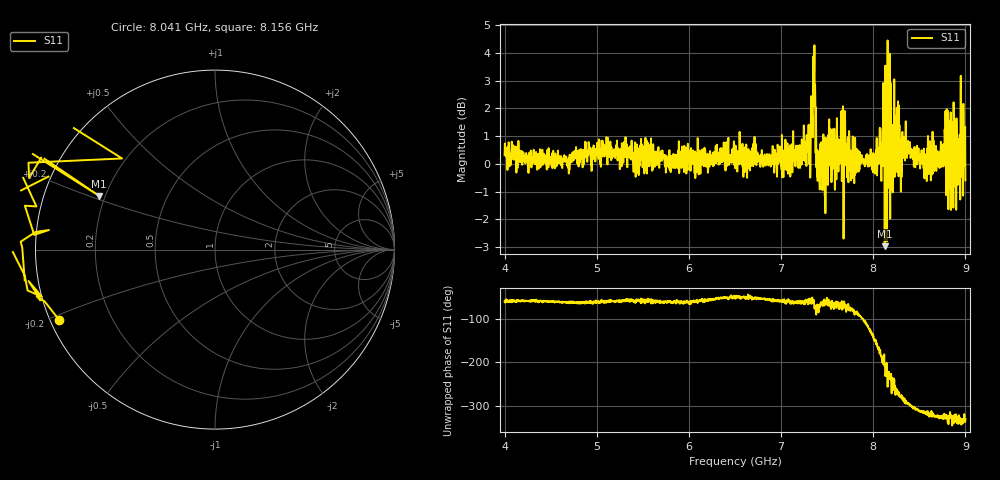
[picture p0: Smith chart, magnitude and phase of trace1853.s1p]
! Created with skrf 1.8.0 (http://scikit-rf.org).
# Hz S RI R 50.0
!freq ReS11 ImS11
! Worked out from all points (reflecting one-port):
!   1601 points, 4 GHz to 9 GHz, reference 50 ohm
!   lowest |S11| = -3.0 dB at 8.125 GHz (marker M1), VSWR 5.91, Z = 8.86 + j10.7 ohm
!   phase of S11 starts at -59 deg and turns -272 deg over the sweep
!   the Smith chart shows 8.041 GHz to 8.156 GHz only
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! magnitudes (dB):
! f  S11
! 4 GHz  0.3
! 4.625 GHz  -0.2
! 5.25 GHz  -0.2
! 5.875 GHz  0.2
! 6.5 GHz  0.5
! 7.125 GHz  0.6
! 7.297 GHz  1.4
! 7.319 GHz  -0.2
! 7.347 GHz  3.9
! 7.372 GHz  2.1
! 7.397 GHz  -0.6
! 7.409 GHz  -0.2
! 7.538 GHz  0.7
! 7.609 GHz  0.6
! 7.672 GHz  2.1
! 7.75 GHz  -0.1
! 8.019 GHz  -0.4
! 8.125 GHz  -3.0
! 8.15 GHz  -2.8
! 8.153 GHz  0.3
! 8.197 GHz  0.7
! 8.244 GHz  0.6
! 8.375 GHz  0.7
! 8.556 GHz  -0.5
! 8.788 GHz  0.1
! 8.856 GHz  -0.7
! 8.972 GHz  0.4
! 9 GHz  -0.6
